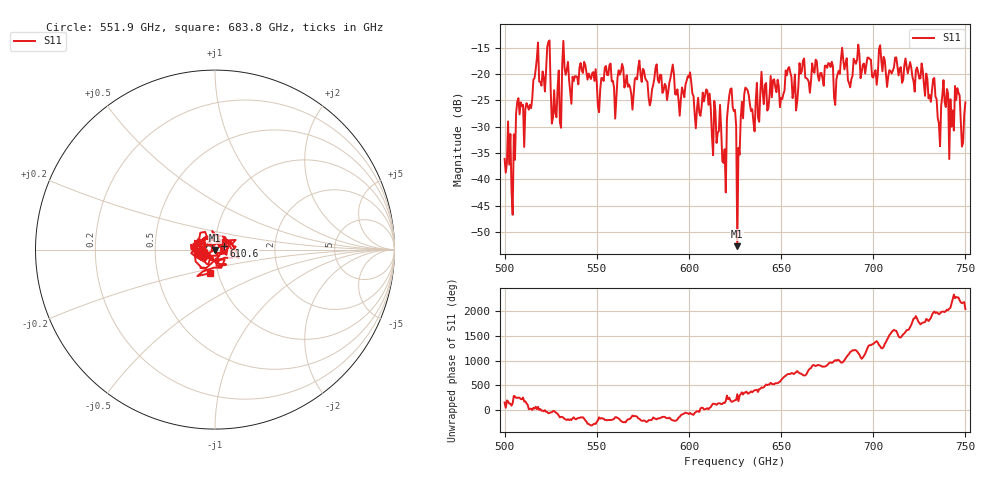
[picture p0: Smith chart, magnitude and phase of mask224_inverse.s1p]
!Created with skrf (http://scikit-rf.org).
# GHz S MA R 50.0
!freq magS11 angS11
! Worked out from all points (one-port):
!   401 points, 500 GHz to 750 GHz, reference 50 ohm
!   lowest |S11| = -52.6 dB at 626.2 GHz (marker M1), VSWR 1.00, Z = 50.2 - j0.14 ohm
!   |S11| at or under -10 dB: start of sweep to end of sweep
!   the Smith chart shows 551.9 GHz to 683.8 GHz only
!   S11 on the Smith chart (normalised r, x): 551.9 GHz: 0.87, -0.03; 610.6 GHz: 1.10, +0.04; 683.8 GHz: 0.91, -0.25
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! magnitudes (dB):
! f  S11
! 500 GHz  -36.1
! 504.4 GHz  -46.7
! 507.5 GHz  -24.6
! 511.9 GHz  -25.5
! 516.9 GHz  -19.1
! 523.8 GHz  -13.9
! 526.9 GHz  -23.1
! 531.2 GHz  -18.2
! 551.9 GHz  -22.9
! 562.5 GHz  -20.1
! 593.8 GHz  -22.9
! 610.6 GHz  -25.8
! 618.8 GHz  -36.9
! 622.5 GHz  -22.9
! 625 GHz  -26.8
! 626.2 GHz  -52.6
! 631.2 GHz  -22.8
! 634.4 GHz  -26.7
! 656.2 GHz  -24.6
! 680 GHz  -21.0
! 683.8 GHz  -17.4
! 687.5 GHz  -22.5
! 718.8 GHz  -19.9
! 735.6 GHz  -29.4
! 739.4 GHz  -26.3
! 742.5 GHz  -30.0
! 745.6 GHz  -22.7
! 750 GHz  -25.4
